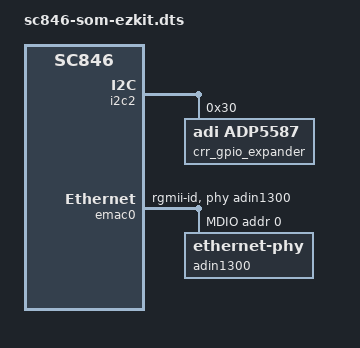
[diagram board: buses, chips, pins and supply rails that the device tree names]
// SPDX-License-Identifier: GPL-2.0-only
/*
 * Copyright (c) 2026 Analog Devices, Inc.
 */

#include "sc846-som.dts"

&pinctrl {
	eth0_default: eth0-default-pins {
		pinmux = <ADSP_SC846_PG00__ETH0_MDC
			  ADSP_SC846_PG01__ETH0_MDIO
			  ADSP_SC846_PG02__ETH0_RXD0
			  ADSP_SC846_PG03__ETH0_RXD1
			  ADSP_SC846_PG04__ETH0_RXCLK_REFCLK
			  ADSP_SC846_PG05__ETH0_RXCTL_RXDV
			  ADSP_SC846_PG06__ETH0_TXD0
			  ADSP_SC846_PG07__ETH0_TXD1
			  ADSP_SC846_PG08__ETH0_RXD2
			  ADSP_SC846_PG09__ETH0_RXD3
			  ADSP_SC846_PG10__ETH0_TXCTL_TXEN
			  ADSP_SC846_PG11__ETH0_TXCLK
			  ADSP_SC846_PG12__ETH0_TXD2
			  ADSP_SC846_PG13__ETH0_TXD3>;
	};

	i2c2_pins: i2c2-default-pins {
		pinmux = <ADSP_SC846_PA12__TWI2_SCL
			  ADSP_SC846_PA13__TWI2_SDA>;
	};
};

&i2c2 {
	status = "okay";
	pinctrl-names = "default";
	pinctrl-0 = <&i2c2_pins>;
	clocks = <&clk ADSP_SC846_CLK_CGU0_SCLK0>;

	crr_gpio_expander: gpio@30 {
		compatible = "adi,adp5587";
		gpio-controller;
		#gpio-cells = <2>;
		reg = <0x30>;

		eth0-reset-hog {
			gpio-hog;
			gpios = <0 GPIO_ACTIVE_HIGH>;
			output-low;
			line-name = "eth0-reset";
		};

		spdif1-en-hog {
			gpio-hog;
			gpios = <1 GPIO_ACTIVE_LOW>;
			output-high;
			line-name = "spdif1-en";
		};

		adau1966-reset-som-a-hog {
			gpio-hog;
			gpios = <2 GPIO_ACTIVE_LOW>;
			output-high;
			line-name = "adau1966-reset-som-a";
		};

		adau1979-a-reset-som-a-hog {
			gpio-hog;
			gpios = <3 GPIO_ACTIVE_LOW>;
			output-high;
			line-name = "adau1979-a-reset-som-a";
		};

		adau1979-b-reset-som-a-hog {
			gpio-hog;
			gpios = <4 GPIO_ACTIVE_LOW>;
			output-high;
			line-name = "adau1979-b-reset-som-a";
		};

		pushbutton-b-en-hog {
			gpio-hog;
			gpios = <5 GPIO_ACTIVE_LOW>;
			output-high;
			line-name = "pushbutton-b-en";
		};

		spdif1-opt-en-hog {
			gpio-hog;
			gpios = <6 GPIO_ACTIVE_LOW>;
			output-high;
			line-name = "spdif1-opt-en";
		};

		spdif1-coax-en-hog {
			gpio-hog;
			gpios = <7 GPIO_ACTIVE_LOW>;
			output-high;
			line-name = "spdif1-coax-en";
		};

		adc1-route-hog {
			gpio-hog;
			gpios = <8 GPIO_ACTIVE_HIGH>;
			output-low;
			line-name = "adc1-route";
		};

		adc2-route-hog {
			gpio-hog;
			gpios = <9 GPIO_ACTIVE_HIGH>;
			output-low;
			line-name = "adc2-route";
		};

		dac-route-hog {
			gpio-hog;
			gpios = <10 GPIO_ACTIVE_HIGH>;
			output-low;
			line-name = "dac-route";
		};

		dai1-route-hog {
			gpio-hog;
			gpios = <11 GPIO_ACTIVE_HIGH>;
			output-low;
			line-name = "dai1-route";
		};

		qspi-route-hog {
			gpio-hog;
			gpios = <12 GPIO_ACTIVE_HIGH>;
			output-low;
			line-name = "qspi-route";
		};

		a2b1-io1-hog {
			gpio-hog;
			gpios = <13 GPIO_ACTIVE_HIGH>;
			output-low;
			line-name = "a2b1-io1";
		};

		a2b1-io2-hog {
			gpio-hog;
			gpios = <14 GPIO_ACTIVE_HIGH>;
			output-low;
			line-name = "a2b1-io2";
		};

		a2b1-io7-hog {
			gpio-hog;
			gpios = <15 GPIO_ACTIVE_HIGH>;
			output-low;
			line-name = "a2b1-io7";
		};

		a2b2-io1-hog {
			gpio-hog;
			gpios = <16 GPIO_ACTIVE_HIGH>;
			output-low;
			line-name = "a2b2-io1";
		};

		a2b2-io2-hog {
			gpio-hog;
			gpios = <17 GPIO_ACTIVE_HIGH>;
			output-low;
			line-name = "a2b2-io2";
		};
	};
};

&emac0 {
	phy-handle = <&adin1300>;
	phy-mode = "rgmii-id";
	pinctrl-names = "default";
	pinctrl-0 = <&eth0_default>;
	status = "okay";

	mdio {
		compatible = "snps,dwmac-mdio";
		#address-cells = <1>;
		#size-cells = <0>;
		adin1300: ethernet-phy@0 {
			reg = <0>;
		};
	};
};

&gpa {
	gpio-line-names =
		"", "", "", "", "", "", "boot-trace";
};
